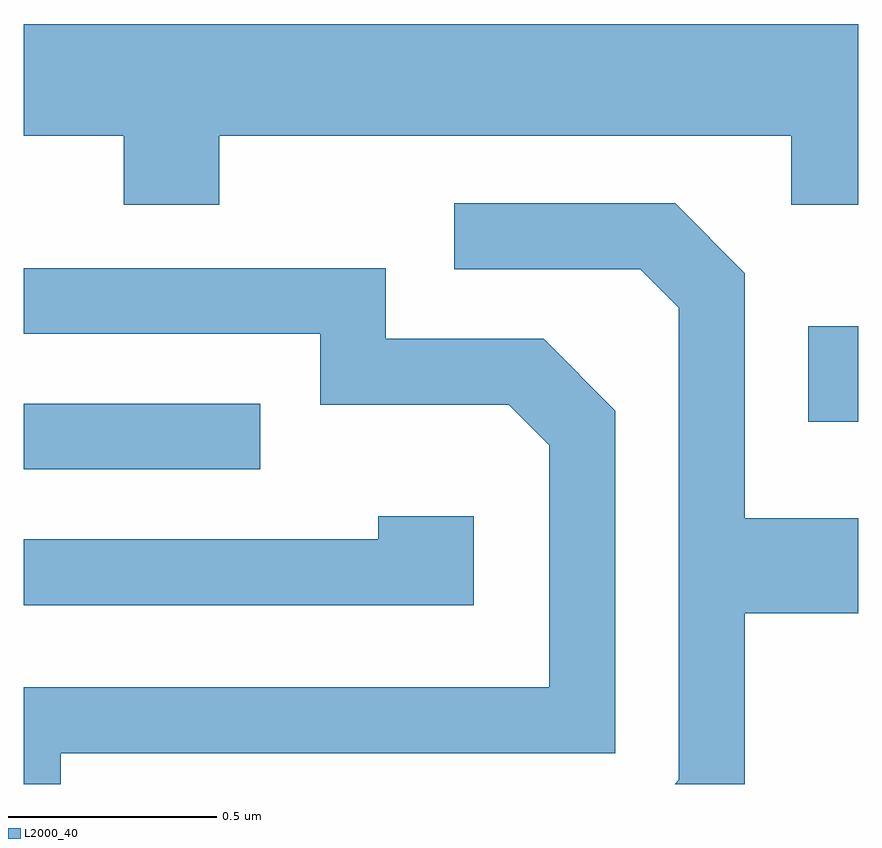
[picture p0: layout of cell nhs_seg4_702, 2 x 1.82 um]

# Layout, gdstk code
import gdstk
lib = gdstk.Library(unit=1e-6, precision=1e-09)
def R(c, l, rs):  # rectangles x0, y0, x1, y1
    for r in rs: c.add(gdstk.rectangle(r[:2], r[2:], *l))
def P(c, l, *ps):  # polygons
    for p in ps: c.add(gdstk.Polygon(p, *l))
L2000_40 = (2000, 40)

nhs_seg4_702 = lib.new_cell('nhs_seg4_702')
R(nhs_seg4_702, L2000_40, [(190.611,1271.736,191.178,1271.894), (192.491,1271.851,192.611,1272.079)])
P(nhs_seg4_702, L2000_40, [(191.079,1272.536),(192.451,1272.536),(192.451,1272.371),(192.611,1272.371),(192.611,1272.804),(190.611,1272.804),(190.611,1272.536),(190.851,1272.536),(190.851,1272.371),(191.079,1272.371)],
  [(192.339,1271.391),(192.611,1271.391),(192.611,1271.619),(192.339,1271.619),(192.339,1272.207),(192.172,1272.374),(191.643,1272.374),(191.643,1272.216),(192.089,1272.216),(192.181,1272.124),(192.181,1270.992),(192.171,1270.982),(192.339,1270.982)],
  [(190.699,1271.056),(192.029,1271.056),(192.029,1271.877),(191.857,1272.049),(191.479,1272.049),(191.479,1272.219),(190.611,1272.219),(190.611,1272.061),(191.321,1272.061),(191.321,1271.891),(191.774,1271.891),(191.871,1271.794),(191.871,1271.214),(190.611,1271.214),(190.611,1270.982),(190.699,1270.982)],
  [(191.689,1271.624),(191.461,1271.624),(191.461,1271.569),(190.611,1271.569),(190.611,1271.411),(191.689,1271.411)])

lib.write_gds('nhs_seg4_702.gds')
